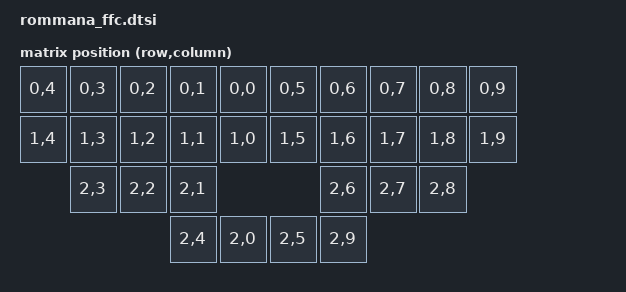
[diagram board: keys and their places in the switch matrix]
#include <dt-bindings/zmk/matrix_transform.h>

#include "rommana_ffc-layouts.dtsi"

/ {
    chosen {
        zmk,kscan = &default_kscan;
        zmk,physical-layout = &rommana_30_layout;
    };

    default_kscan: kscan_0 {
        compatible = "zmk,kscan-gpio-matrix";
        diode-direction = "col2row";
        wakeup-source;
    };

    thirty_transform: keymap_transform_0 {
        compatible = "zmk,matrix-transform";
        columns = <10>;
        rows = <3>;
        map = <
            RC(0,4) RC(0,3) RC(0,2) RC(0,1) RC(0,0)   RC(0,5) RC(0,6) RC(0,7) RC(0,8) RC(0,9)
            RC(1,4) RC(1,3) RC(1,2) RC(1,1) RC(1,0)   RC(1,5) RC(1,6) RC(1,7) RC(1,8) RC(1,9)
                    RC(2,3) RC(2,2) RC(2,1)                   RC(2,6) RC(2,7) RC(2,8)
                                    RC(2,4) RC(2,0)   RC(2,5) RC(2,9)
        >;
    };
};

&rommana_30_layout {
    transform = <&thirty_transform>;
};
